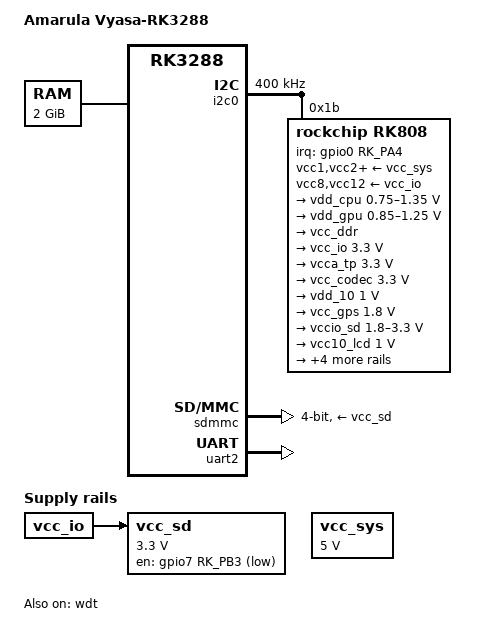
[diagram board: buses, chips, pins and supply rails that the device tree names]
/*
 * Copyright (C) 2017 Jagan Teki <jagan@amarulasolutions.com>
 *
 * This file is dual-licensed: you can use it either under the terms
 * of the GPL or the X11 license, at your option. Note that this dual
 * licensing only applies to this file, and not this project as a
 * whole.
 *
 *  a) This file is free software; you can redistribute it and/or
 *     modify it under the terms of the GNU General Public License as
 *     published by the Free Software Foundation; either version 2 of the
 *     License, or (at your option) any later version.
 *
 *     This file is distributed in the hope that it will be useful,
 *     but WITHOUT ANY WARRANTY; without even the implied warranty of
 *     MERCHANTABILITY or FITNESS FOR A PARTICULAR PURPOSE.  See the
 *     GNU General Public License for more details.
 *
 * Or, alternatively,
 *
 *  b) Permission is hereby granted, free of charge, to any person
 *     obtaining a copy of this software and associated documentation
 *     files (the "Software"), to deal in the Software without
 *     restriction, including without limitation the rights to use,
 *     copy, modify, merge, publish, distribute, sublicense, and/or
 *     sell copies of the Software, and to permit persons to whom the
 *     Software is furnished to do so, subject to the following
 *     conditions:
 *
 *     The above copyright notice and this permission notice shall be
 *     included in all copies or substantial portions of the Software.
 *
 *     THE SOFTWARE IS PROVIDED "AS IS", WITHOUT WARRANTY OF ANY KIND,
 *     EXPRESS OR IMPLIED, INCLUDING BUT NOT LIMITED TO THE WARRANTIES
 *     OF MERCHANTABILITY, FITNESS FOR A PARTICULAR PURPOSE AND
 *     NONINFRINGEMENT. IN NO EVENT SHALL THE AUTHORS OR COPYRIGHT
 *     HOLDERS BE LIABLE FOR ANY CLAIM, DAMAGES OR OTHER LIABILITY,
 *     WHETHER IN AN ACTION OF CONTRACT, TORT OR OTHERWISE, ARISING
 *     FROM, OUT OF OR IN CONNECTION WITH THE SOFTWARE OR THE USE OR
 *     OTHER DEALINGS IN THE SOFTWARE.
 */

/dts-v1/;
#include "rk3288.dtsi"

/ {
	model = "Amarula Vyasa-RK3288";
	compatible = "amarula,vyasa-rk3288", "rockchip,rk3288";

	chosen {
		stdout-path = &uart2;
	};

	memory {
		device_type = "memory";
		reg = <0 0x80000000>;
	};

	vcc_sd: sdmmc-regulator {
		compatible = "regulator-fixed";
		gpio = <&gpio7 RK_PB3 GPIO_ACTIVE_LOW>;
		pinctrl-names = "default";
		pinctrl-0 = <&sdmmc_pwr>;
		regulator-name = "vcc_sd";
		regulator-min-microvolt = <3300000>;
		regulator-max-microvolt = <3300000>;
		startup-delay-us = <100000>;
		vin-supply = <&vcc_io>;
	};

	vcc_sys: vsys-regulator {
		compatible = "regulator-fixed";
		regulator-name = "vcc_sys";
		regulator-min-microvolt = <5000000>;
		regulator-max-microvolt = <5000000>;
		regulator-always-on;
		regulator-boot-on;
	};
};

&dmc {
	rockchip,pctl-timing = <0x29a 0xc8 0x1f8 0x42 0x4e 0x4 0xea 0xa
		0x5 0x0 0xa 0x7 0x19 0x24 0xa 0x7
		0x5 0xa 0x5 0x200 0x5 0x10 0x40 0x0
		0x1 0x7 0x7 0x4 0xc 0x43 0x100 0x0
		0x5 0x0>;
	rockchip,phy-timing = <0x48f9aab4 0xea0910 0x1002c200
		0xa60 0x40 0x10 0x0>;
	/* Add a dummy value to cause of-platdata think this is bytes */
	rockchip,sdram-params = <0x30B25564 0x627 3 666000000 3 9 1>;
};

&cpu0 {
	cpu0-supply = <&vdd_cpu>;
};

&i2c0 {
	clock-frequency = <400000>;
	status = "okay";

	rk808: pmic@1b {
		compatible = "rockchip,rk808";
		reg = <0x1b>;
		interrupt-parent = <&gpio0>;
		interrupts = <RK_PA4 IRQ_TYPE_LEVEL_LOW>;
		pinctrl-names = "default";
		pinctrl-0 = <&pmic_int &global_pwroff>;
		wakeup-source;
		rockchip,system-power-controller;
		#clock-cells = <1>;
		clock-output-names = "xin32k", "rk808-clkout2";

		vcc1-supply = <&vcc_sys>;
		vcc2-supply = <&vcc_sys>;
		vcc3-supply = <&vcc_sys>;
		vcc4-supply = <&vcc_sys>;
		vcc6-supply = <&vcc_sys>;
		vcc7-supply = <&vcc_sys>;
		vcc8-supply = <&vcc_io>;
		vcc9-supply = <&vcc_sys>;
		vcc10-supply = <&vcc_sys>;
		vcc11-supply = <&vcc_sys>;
		vcc12-supply = <&vcc_io>;

		regulators {
			vdd_cpu: vdd_log: DCDC_REG1 {
				regulator-always-on;
				regulator-boot-on;
				regulator-min-microvolt = <750000>;
				regulator-max-microvolt = <1350000>;
				regulator-name = "vdd_log";
				regulator-state-mem {
					regulator-off-in-suspend;
				};
			};

			vdd_gpu: DCDC_REG2 {
				regulator-always-on;
				regulator-boot-on;
				regulator-min-microvolt = <850000>;
				regulator-max-microvolt = <1250000>;
				regulator-name = "vdd_gpu";
				regulator-state-mem {
					regulator-on-in-suspend;
					regulator-suspend-microvolt = <1000000>;
				};
			};

			vcc_ddr: DCDC_REG3 {
				regulator-always-on;
				regulator-boot-on;
				regulator-name = "vcc_ddr";
				regulator-state-mem {
					regulator-on-in-suspend;
				};
			};

			vcc_io: DCDC_REG4 {
				regulator-always-on;
				regulator-boot-on;
				regulator-min-microvolt = <3300000>;
				regulator-max-microvolt = <3300000>;
				regulator-name = "vcc_io";
				regulator-state-mem {
					regulator-on-in-suspend;
					regulator-suspend-microvolt = <3300000>;
				};
			};

			vcca_tp: LDO_REG1 {
				regulator-always-on;
				regulator-boot-on;
				regulator-min-microvolt = <3300000>;
				regulator-max-microvolt = <3300000>;
				regulator-name = "vcc_tp";
				regulator-state-mem {
					regulator-on-in-suspend;
					regulator-suspend-microvolt = <3300000>;
				};
			};

			vcc_codec: LDO_REG2 {
				regulator-always-on;
				regulator-boot-on;
				regulator-min-microvolt = <3300000>;
				regulator-max-microvolt = <3300000>;
				regulator-name = "vcc_codec";
				regulator-state-mem {
					regulator-off-in-suspend;
				};
			};

			vdd_10: LDO_REG3 {
				regulator-always-on;
				regulator-boot-on;
				regulator-min-microvolt = <1000000>;
				regulator-max-microvolt = <1000000>;
				regulator-name = "vdd_10";
				regulator-state-mem {
					regulator-on-in-suspend;
					regulator-suspend-microvolt = <1000000>;
				};
			};

			vcc_gps: LDO_REG4 {
				regulator-always-on;
				regulator-boot-on;
				regulator-min-microvolt = <1800000>;
				regulator-max-microvolt = <1800000>;
				regulator-name = "vcc_gps";
				regulator-state-mem {
					regulator-on-in-suspend;
					regulator-suspend-microvolt = <1800000>;
				};
			};

			vccio_sd: LDO_REG5 {
				regulator-always-on;
				regulator-boot-on;
				regulator-min-microvolt = <1800000>;
				regulator-max-microvolt = <3300000>;
				regulator-name = "vccio_sd";
				regulator-state-mem {
					regulator-on-in-suspend;
					regulator-suspend-microvolt = <3300000>;
				};
			};

			vcc10_lcd: LDO_REG6 {
				regulator-always-on;
				regulator-boot-on;
				regulator-min-microvolt = <1000000>;
				regulator-max-microvolt = <1000000>;
				regulator-name = "vcc10_lcd";
				regulator-state-mem {
					regulator-on-in-suspend;
					regulator-suspend-microvolt = <1800000>;
				};
			};

			vcc_18: LDO_REG7 {
				regulator-always-on;
				regulator-boot-on;
				regulator-min-microvolt = <1800000>;
				regulator-max-microvolt = <1800000>;
				regulator-name = "vcc_18";
				regulator-state-mem {
					regulator-on-in-suspend;
					regulator-suspend-microvolt = <1800000>;
				};
			};

			vcc18_lcd: LDO_REG8 {
				regulator-always-on;
				regulator-boot-on;
				regulator-min-microvolt = <1800000>;
				regulator-max-microvolt = <1800000>;
				regulator-name = "vcc18_lcd";
				regulator-state-mem {
					regulator-on-in-suspend;
					regulator-suspend-microvolt = <1800000>;
				};
			};

			vcc33_sd: SWITCH_REG1 {
				regulator-always-on;
				regulator-boot-on;
				regulator-min-microvolt = <3300000>;
				regulator-max-microvolt = <3300000>;
				regulator-name = "vcc33_sd";
				regulator-state-mem {
					regulator-on-in-suspend;
				};
			};

			vcc_lan: SWITCH_REG2 {
				regulator-always-on;
				regulator-boot-on;
				regulator-min-microvolt = <3300000>;
				regulator-max-microvolt = <3300000>;
				regulator-name = "vcc_lan";
				regulator-state-mem {
					regulator-on-in-suspend;
				};
			};
		};
	};
};

&sdmmc {
	u-boot,dm-pre-reloc;
	status = "okay";

	bus-width = <4>;
	cap-mmc-highspeed;
	cap-sd-highspeed;
	card-detect-delay = <200>;
	disable-wp;
	pinctrl-names = "default";
	pinctrl-0 = <&sdmmc_clk>, <&sdmmc_cmd>, <&sdmmc_cd>, <&sdmmc_bus4>;
	vmmc-supply = <&vcc_sd>;
	vqmmc-supply = <&vccio_sd>;
};

&uart2 {
	u-boot,dm-pre-reloc;
	status = "okay";
};

&wdt {
	status = "okay";
};

&pinctrl {
	u-boot,dm-pre-reloc;
	pmic {
		pmic_int: pmic-int {
			rockchip,pins = <RK_GPIO0 4 RK_FUNC_GPIO &pcfg_pull_up>;
		};
	};

	sdmmc {
		sdmmc_pwr: sdmmc-pwr {
			rockchip,pins = <7 11 RK_FUNC_GPIO &pcfg_pull_none>;
		};
	};
};
